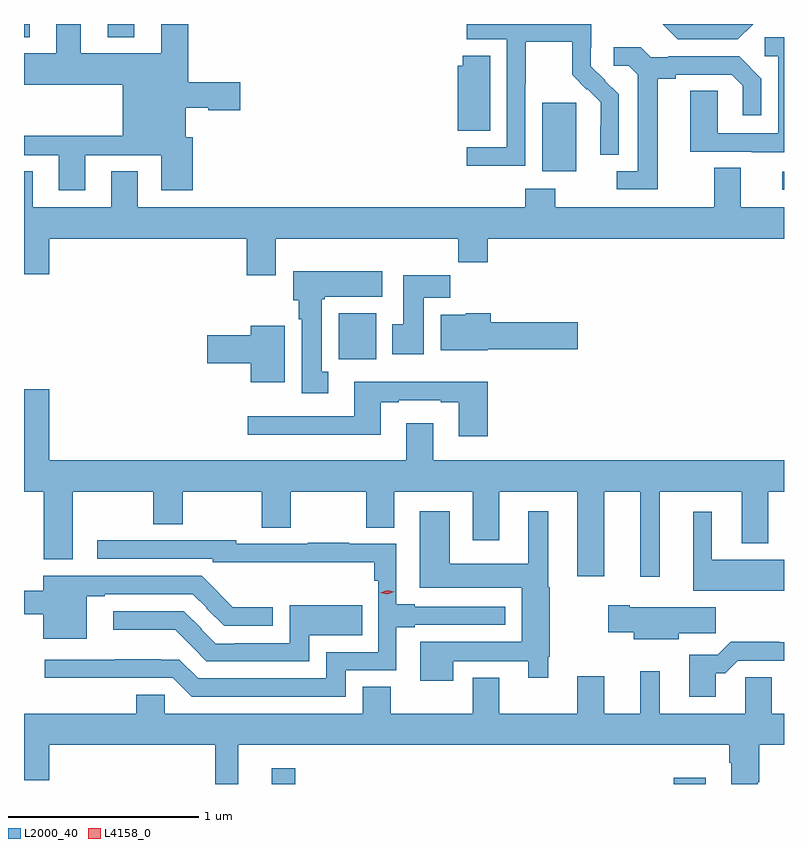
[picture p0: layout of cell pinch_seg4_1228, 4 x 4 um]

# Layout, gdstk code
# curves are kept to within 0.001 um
import gdstk
lib = gdstk.Library(unit=1e-6, precision=1e-09)
def R(c, l, rs):  # rectangles x0, y0, x1, y1
    for r in rs: c.add(gdstk.rectangle(r[:2], r[2:], *l))
def P(c, l, *ps):  # polygons
    for p in ps: c.add(gdstk.Polygon(p, *l))
L2000_40 = (2000, 40)
L4158_0 = (4158, 0)

pinch_seg4_1228 = lib.new_cell('pinch_seg4_1228')
R(pinch_seg4_1228, L2000_40, [(190.319,819.257,190.441,819.34), (192.434,819.257,192.601,819.289), (190.67,821.492,190.867,821.734), (193.005,822.384,193.014,822.48), (191.741,822.482,191.92,822.843), (189.014,823.187,189.043,823.257), (189.455,823.187,189.595,823.257)])
P(pinch_seg4_1228, L2000_40, [(192.852,823.257),(192.375,823.257),(192.456,823.176),(192.771,823.176)],
  [(191.652,822.94),(191.655,822.94),(191.655,823.164),(191.899,823.164),(191.899,822.989),(191.976,822.912),(191.979,822.915),(192.05,822.845),(192.05,822.722),(192.048,822.722),(192.048,822.568),(192.144,822.568),(192.144,822.886),(191.998,823.034),(191.998,823.131),(192,823.131),(192,823.257),(191.343,823.257),(191.343,823.176),(191.556,823.176),(191.556,822.609),(191.343,822.609),(191.343,822.511),(191.652,822.511)],
  [(189.337,822.567),(189.737,822.567),(189.737,822.381),(189.902,822.381),(189.902,822.66),(189.865,822.66),(189.865,822.815),(189.985,822.815),(189.985,822.803),(190.153,822.803),(190.153,822.95),(189.878,822.95),(189.878,823.257),(189.737,823.257),(189.737,823.102),(189.313,823.102),(189.313,823.257),(189.185,823.257),(189.185,823.102),(189.014,823.102),(189.014,822.938),(189.533,822.938),(189.533,822.668),(189.014,822.668),(189.014,822.567),(189.197,822.567),(189.197,822.381),(189.337,822.381)],
  [(193.014,823.187),(192.912,823.187),(192.912,823.086),(192.984,823.086),(192.984,822.681),(192.666,822.681),(192.666,822.905),(192.521,822.905),(192.521,822.585),(192.845,822.585),(192.845,822.581),(193.014,822.581)],
  [(192.349,822.968),(192.445,822.968),(192.445,822.99),(192.74,822.99),(192.797,822.933),(192.797,822.777),(192.894,822.777),(192.894,822.97),(192.778,823.086),(192.406,823.086),(192.406,823.083),(192.312,823.083),(192.26,823.135),(192.117,823.135),(192.117,823.038),(192.198,823.038),(192.245,822.991),(192.245,822.483),(192.135,822.483),(192.135,822.387),(192.349,822.387)],
  [(191.467,823.091),(191.324,823.091),(191.324,823.038),(191.297,823.038),(191.297,822.694),(191.467,822.694)],
  [(190.339,822.128),(191.299,822.128),(191.299,822.004),(191.456,822.004),(191.456,822.128),(193.014,822.128),(193.014,822.292),(192.787,822.292),(192.787,822.5),(192.647,822.5),(192.647,822.292),(191.811,822.292),(191.811,822.391),(191.651,822.391),(191.651,822.292),(189.613,822.292),(189.613,822.482),(189.473,822.482),(189.473,822.292),(189.061,822.292),(189.061,822.482),(189.014,822.482),(189.014,821.94),(189.148,821.94),(189.148,822.128),(190.187,822.128),(190.187,821.934),(190.339,821.934)],
  [(190.615,821.426),(190.582,821.426),(190.582,821.809),(190.596,821.809),(190.596,821.822),(190.9,821.822),(190.9,821.956),(190.43,821.956),(190.43,821.802),(190.46,821.802),(190.46,821.702),(190.475,821.702),(190.475,821.313),(190.615,821.313)],
  [(191.119,821.816),(191.258,821.816),(191.258,821.935),(191.009,821.935),(191.009,821.676),(190.952,821.676),(190.952,821.52),(191.119,821.52)],
  [(191.454,821.546),(191.929,821.546),(191.929,821.688),(191.471,821.688),(191.471,821.734),(191.34,821.734),(191.34,821.728),(191.207,821.728),(191.207,821.54),(191.454,821.54)],
  [(190.387,821.668),(190.208,821.668),(190.208,821.618),(189.978,821.618),(189.978,821.471),(190.208,821.471),(190.208,821.372),(190.387,821.372)],
  [(191.456,821.374),(190.751,821.374),(190.751,821.193),(190.191,821.193),(190.191,821.096),(190.891,821.096),(190.891,821.265),(190.987,821.265),(190.987,821.277),(191.207,821.277),(191.207,821.265),(191.303,821.265),(191.303,821.088),(191.456,821.088)],
  [(192.361,820.796),(192.791,820.796),(192.791,820.523),(192.931,820.523),(192.931,820.796),(193.014,820.796),(193.014,820.96),(191.167,820.96),(191.167,821.155),(191.027,821.155),(191.027,820.96),(189.148,820.96),(189.148,821.335),(189.014,821.335),(189.014,820.796),(189.119,820.796),(189.119,820.439),(189.271,820.439),(189.271,820.796),(189.694,820.796),(189.694,820.624),(189.849,820.624),(189.849,820.796),(190.264,820.796),(190.264,820.606),(190.419,820.606),(190.419,820.796),(190.816,820.796),(190.816,820.606),(190.963,820.606),(190.963,820.796),(191.375,820.796),(191.375,820.539),(191.515,820.539),(191.515,820.796),(191.927,820.796),(191.927,820.35),(192.067,820.35),(192.067,820.796),(192.257,820.796),(192.257,820.347),(192.361,820.347)],
  [(191.272,819.902),(191.669,819.902),(191.669,819.816),(191.773,819.816),(191.773,819.928),(191.781,819.928),(191.781,820.293),(191.773,820.293),(191.773,820.693),(191.669,820.693),(191.669,820.417),(191.254,820.417),(191.254,820.693),(191.096,820.693),(191.096,820.289),(191.633,820.289),(191.633,820.006),(191.099,820.006),(191.099,819.8),(191.272,819.8)],
  [(193.014,820.438),(192.634,820.438),(192.634,820.69),(192.536,820.69),(192.536,820.274),(193.014,820.274)],
  [(190.708,819.855),(190.974,819.855),(190.974,820.083),(191.071,820.083),(191.071,820.095),(191.548,820.095),(191.548,820.191),(191.071,820.191),(191.071,820.204),(190.974,820.204),(190.974,820.521),(190.727,820.521),(190.727,820.526),(190.507,820.526),(190.507,820.521),(190.131,820.521),(190.131,820.539),(189.399,820.539),(189.399,820.443),(190.008,820.443),(190.008,820.423),(190.858,820.423),(190.858,820.328),(190.878,820.328),(190.878,819.951),(190.604,819.951),(190.604,819.813),(189.93,819.813),(189.831,819.912),(189.123,819.912),(189.123,819.815),(189.798,819.816),(189.897,819.717),(190.708,819.717)],
  [(189.343,820.245),(189.439,820.245),(189.439,820.257),(189.903,820.257),(189.976,820.184),(189.974,820.182),(190.067,820.089),(190.324,820.089),(190.324,820.188),(190.112,820.188),(189.949,820.353),(189.116,820.353),(189.116,820.273),(189.014,820.273),(189.014,820.151),(189.116,820.151),(189.116,820.022),(189.343,820.022)],
  [(192.46,820.051),(192.655,820.051),(192.655,820.186),(192.202,820.186),(192.202,820.199),(192.09,820.199),(192.09,820.057),(192.224,820.057),(192.224,820.019),(192.46,820.019)],
  [(190.516,820.04),(190.793,820.04),(190.793,820.198),(190.412,820.198),(190.412,819.999),(190.123,819.999),(190.123,819.996),(190.023,819.996),(189.947,820.072),(189.949,820.074),(189.856,820.167),(189.483,820.167),(189.483,820.07),(189.811,820.07),(189.903,819.978),(189.901,819.976),(189.974,819.903),(190.516,819.903)],
  [(192.655,819.839),(192.704,819.839),(192.771,819.906),(193.014,819.906),(193.014,820.004),(192.989,820.004),(192.989,820.007),(192.734,820.007),(192.664,819.937),(192.515,819.937),(192.515,819.717),(192.655,819.717)],
  [(192.877,819.265),(192.885,819.265),(192.885,819.464),(193.014,819.464),(193.014,819.628),(192.949,819.628),(192.949,819.818),(192.81,819.818),(192.81,819.628),(192.361,819.628),(192.361,819.85),(192.257,819.85),(192.257,819.628),(192.067,819.628),(192.067,819.823),(191.927,819.823),(191.927,819.628),(191.515,819.628),(191.515,819.817),(191.375,819.817),(191.375,819.628),(190.944,819.628),(190.944,819.77),(190.796,819.77),(190.796,819.628),(189.756,819.628),(189.756,819.726),(189.605,819.726),(189.605,819.628),(189.014,819.628),(189.014,819.276),(189.148,819.276),(189.148,819.464),(190.02,819.464),(190.02,819.257),(190.141,819.257),(190.141,819.464),(192.725,819.464),(192.725,819.368),(192.737,819.368),(192.737,819.257),(192.877,819.257)])
P(pinch_seg4_1228, L4158_0, [(190.927,820.256),(190.89,820.263),(190.89,820.263),(190.89,820.264),(190.925,820.276),(190.962,820.269),(190.962,820.269),(190.962,820.268)])

lib.write_gds('pinch_seg4_1228.gds')
